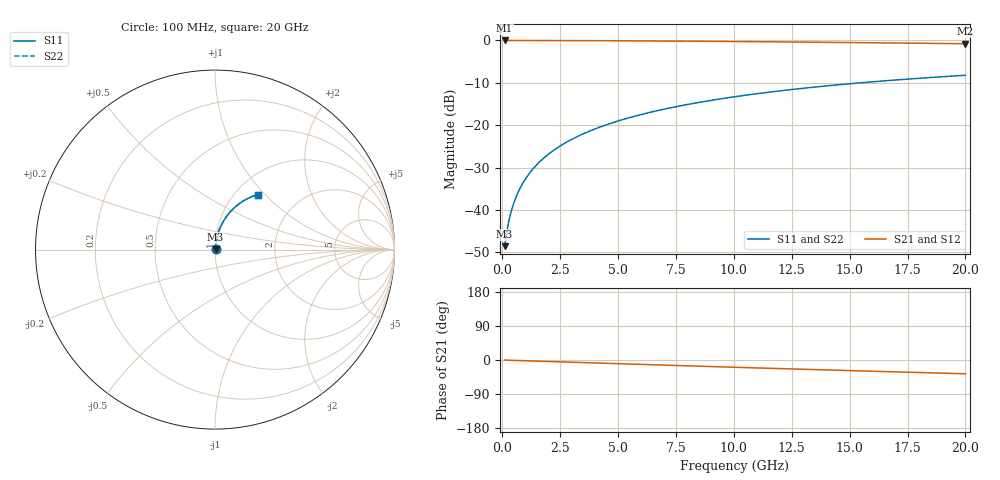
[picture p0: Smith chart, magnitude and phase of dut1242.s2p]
! Touchstone file exported from HFSS 2026.1.0
!  File:  C:/ffzhzh/LocalFiles/Ansys_Project_Files/temp_train_BSMRDL_1242_1783177175_43440.aedt
!  Generated:  11:00:47 PM Jul  4, 2026
!  Design:  BSMRDL
!  Project:  temp_train_BSMRDL_1242_1783177175_43440
! Variables:
!  h_bsmrdl = 3.47um
!  h_ox = 20um
!  h_rdl = 5um
!  h_sub = 80um
!  h_tmrdl = 5um
!  h_tsv = 80um
!  h_via = 3um
!  l_bsmrdl = 478.2um
!  l_sub = 878.2um
!  l_tmrdl = 200um
!  m_sub = 200um
!  pitch = 51.17um
!  r_tsv = 6um
!  s_tmrdl = 10um
!  w_bsmrdl = 18.15um
!  w_sub = 500um
!  w_tmrdl = 12um
!  x_tsv_center1 = 206um
!  x_tsv_center2 = 702.35um
!  x_tsv_center3 = 914.35um
!  x_tsv_center4 = 1410.7um
!  x_tsv_center5 = 1622.7um
!  x_tsv_center6 = 2119.05um
# GHz S MA R 50.000000
! Terminal data exported
! Port[1] = BSM_RDL1_1_T1
! Port[2] = BSM_RDL1_1_T2
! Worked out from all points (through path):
!   200 points, 100 MHz to 20 GHz, reference 50 ohm
!   highest |S21| = -0.02 dB at 100 MHz (marker M1); lowest = -0.8 dB at 20 GHz (marker M2)
!   group delay of S21, straight-line fit = 5.05 ps
!   lowest |S11| = -48.5 dB at 100 MHz (marker M3), VSWR 1.01, Z = 50.3 + j0.243 ohm
!   |S11| at or under -10 dB: start of sweep to 15.49 GHz
!   |S22| runs from -48.5 to -8.2 dB; largest |S21 - S12| = 5.3e-15
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0.1  0.003745 40.1  0.9971 -0.2  0.9971 -0.2  0.003745 40.1
! Gamma 0 0 0 0
! Port Impedance 50 0 50 0
0.2  0.005638 58.2  0.997 -0.4  0.997 -0.4  0.005638 58.2
0.3  0.00777 66.4  0.9969 -0.6  0.9969 -0.6  0.00777 66.4
0.4  0.009957 70.8  0.9968 -0.8  0.9968 -0.8  0.009957 70.8
0.5  0.01216 73.6  0.9967 -1.0  0.9967 -1.0  0.01216 73.6
0.6  0.01437 75.6  0.9966 -1.2  0.9966 -1.2  0.01437 75.6
0.8  0.0188 78.0  0.9964 -1.6  0.9964 -1.6  0.0188 78.0
1.1  0.0255 79.9  0.9962 -2.2  0.9962 -2.2  0.0255 79.9
1.5  0.03446 81.0  0.9958 -3.0  0.9958 -3.0  0.03446 81.0
1.8  0.0412 81.3  0.9955 -3.5  0.9955 -3.5  0.0412 81.3
2.1  0.04793 81.3  0.9951 -4.1  0.9951 -4.1  0.04793 81.3
2.7  0.06137 81.0  0.9942 -5.3  0.9942 -5.3  0.06137 81.0
3.5  0.07918 80.0  0.9926 -6.9  0.9926 -6.9  0.07918 80.0
4.2  0.09463 79.0  0.9909 -8.2  0.9909 -8.2  0.09463 79.0
5  0.1121 77.7  0.9888 -9.8  0.9888 -9.8  0.1121 77.7
5.9  0.1315 76.2  0.9859 -11.5  0.9859 -11.5  0.1315 76.2
6.8  0.1505 74.6  0.9828 -13.2  0.9828 -13.2  0.1505 74.6
8.3  0.1816 71.9  0.9769 -16.0  0.9769 -16.0  0.1816 72.0
10.1  0.2176 68.8  0.9688 -19.3  0.9688 -19.3  0.2176 68.8
13.4  0.2796 63.1  0.9517 -25.2  0.9517 -25.2  0.2796 63.1
16.7  0.3363 57.5  0.9326 -30.9  0.9326 -30.9  0.3363 57.6
20  0.3874 52.2  0.9122 -36.3  0.9122 -36.3  0.3874 52.3
